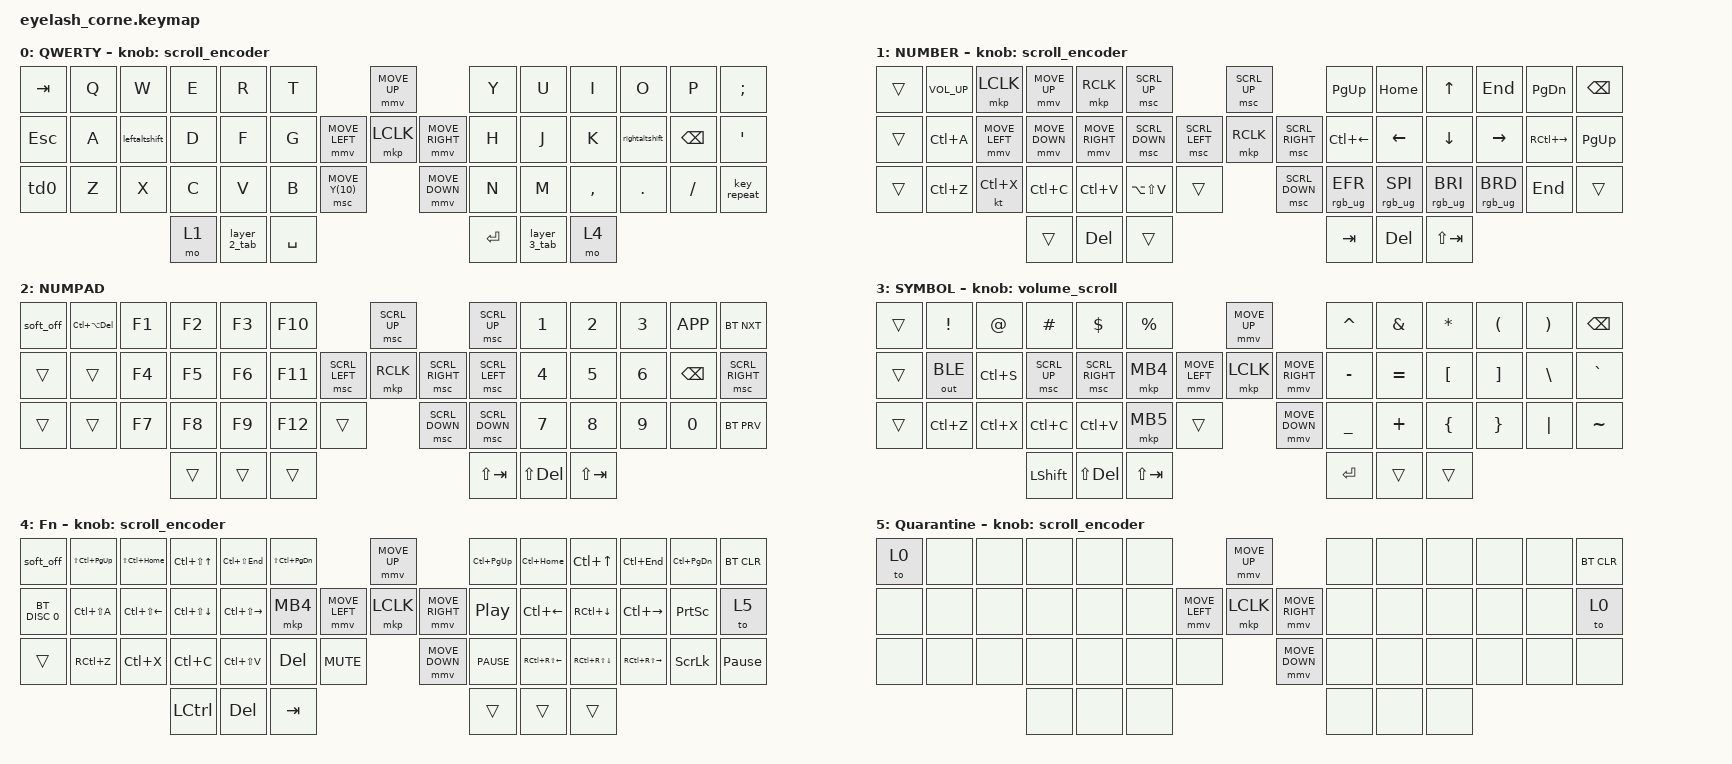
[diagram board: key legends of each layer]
#define ZMK_POINTING_DEFAULT_MOVE_VAL 300  // 600
#define ZMK_POINTING_DEFAULT_SCRL_VAL 25   // 10

#include <input/processors.dtsi>
#include <zephyr/dt-bindings/input/input-event-codes.h>
#include <behaviors.dtsi>
#include <dt-bindings/zmk/bt.h>
#include <dt-bindings/zmk/keys.h>
#include <dt-bindings/zmk/outputs.h>
#include <dt-bindings/zmk/pointing.h>
#include <dt-bindings/zmk/rgb.h>

&mmv_input_listener { input-processors = <&zip_xy_scaler 2 1>; };

&msc_input_listener { input-processors = <&zip_scroll_scaler 2 1>; };

&msc {
    acceleration-exponent = <0>;      // 0
    time-to-max-speed-ms = <0>;       // 300
    delay-ms = <0>;                   // 0
};

&mmv {
    time-to-max-speed-ms = <500>;
    acceleration-exponent = <1>;
    trigger-period-ms = <16>;
    delay-ms = <0>;
};

/ {
    behaviors {
        td0: td0 {
            compatible = "zmk,behavior-tap-dance";
            display-name = "Shift/Caps Lock Tap Dance";
            #binding-cells = <0>;
            bindings = <&kp LEFT_SHIFT>, <&kp CAPS>;
        };

        ht: ht {
            compatible = "zmk,behavior-hold-tap";
            label = "HT";
            bindings = <&kp>, <&kp>;

            #binding-cells = <2>;
            tapping-term-ms = <200>;
        };

        volume_scroll: volume_scroll {
            compatible = "zmk,behavior-sensor-rotate";
            #sensor-binding-cells = <0>;
            bindings = <&kp C_VOLUME_UP>, <&kp C_VOLUME_DOWN>;

            tap-ms = <100>;
            label = "VOLUME_SCROLL";
        };

        rightaltshift: rightaltshift {
            compatible = "zmk,behavior-mod-morph";
            label = "RIGHTALTSHIFT";
            bindings = <&kp L>, <&kp RIGHT_SHIFT>;

            #binding-cells = <0>;
            mods = <(MOD_RALT)>;
            keep-mods = <(MOD_RALT)>;
        };

        leftaltshift: leftaltshift {
            compatible = "zmk,behavior-mod-morph";
            label = "LEFTALTSHIFT";
            bindings = <&kp S>, <&kp LEFT_SHIFT>;

            #binding-cells = <0>;
            mods = <(MOD_LALT)>;
            keep-mods = <(MOD_LALT)>;
        };

        spaceastab: spaceastab {
            compatible = "zmk,behavior-mod-morph";
            label = "SPACEASTAB";
            bindings = <&kp SPACE>, <&kp TAB>;

            #binding-cells = <0>;
            mods = <(MOD_LALT)>;
            keep-mods = <(MOD_LALT)>;
        };

        enterastab: enterastab {
            compatible = "zmk,behavior-mod-morph";
            label = "ENTERASTAB";
            bindings = <&kp ENTER>, <&kp TAB>;

            #binding-cells = <0>;
            mods = <(MOD_RALT)>;
            keep-mods = <(MOD_RALT)>;
        };

        layer_2_tab: layer_2_tab {
            compatible = "zmk,behavior-mod-morph";
            label = "LAYER_2_TAB";
            bindings = <&mo 2>, <&kp TAB>;

            #binding-cells = <0>;
            mods = <(MOD_LALT)>;
            keep-mods = <(MOD_LALT)>;
        };

        layer_3_tab: layer_3_tab {
            compatible = "zmk,behavior-mod-morph";
            label = "LAYER_3_TAB";
            bindings = <&mo 3>, <&kp TAB>;

            #binding-cells = <0>;
            mods = <(MOD_RALT)>;
            keep-mods = <(MOD_RALT)>;
        };
    };

    rgb_encoder: rgb_encoder {
        compatible = "zmk,behavior-sensor-rotate";
        #sensor-binding-cells = <0>;
        bindings = <&rgb_ug RGB_BRI>, <&rgb_ug RGB_BRD>;
    };

    scroll_encoder: scroll_encoder {
        compatible = "zmk,behavior-sensor-rotate";
        #sensor-binding-cells = <0>;
        bindings = <&msc SCRL_DOWN>, <&msc SCRL_UP>;

        tap-ms = <100>;
    };

    #define COMBO_SETTINGS \
      timeout-ms = <40>; \
      require-prior-idle-ms = <200>; \
      layers = <0 1 2 3 4>;

    combos {
        compatible = "zmk,combos";

        lctrl {
            COMBO_SETTINGS
            bindings = <&kp LCTRL>;
            key-positions = <30 29>;
        };

        windows {
            COMBO_SETTINGS
            bindings = <&kp LEFT_GUI>;
            key-positions = <31 32>;
        };

        rctrl {
            COMBO_SETTINGS
            bindings = <&kp RCTRL>;
            key-positions = <39 40>;
        };

        lshift {
            COMBO_SETTINGS
            bindings = <&kp LEFT_SHIFT>;
            key-positions = <15 14>;
        };

        rshift {
            COMBO_SETTINGS
            bindings = <&kp RSHIFT>;
            key-positions = <25 26>;
        };

        lalt {
            COMBO_SETTINGS
            bindings = <&kp LEFT_ALT>;
            key-positions = <17 16>;
        };

        ralt {
            COMBO_SETTINGS
            bindings = <&kp RIGHT_ALT>;
            key-positions = <23 24>;
        };

        up {
            COMBO_SETTINGS
            bindings = <&kp UP_ARROW>;
            key-positions = <9 46>;
        };

        down {
            COMBO_SETTINGS
            bindings = <&kp DOWN_ARROW>;
            key-positions = <46 24>;
        };

        left {
            COMBO_SETTINGS
            bindings = <&kp LEFT_ARROW>;
            key-positions = <46 23>;
        };

        right {
            COMBO_SETTINGS
            bindings = <&kp RIGHT_ARROW>;
            key-positions = <46 25>;
        };

        rwin {
            COMBO_SETTINGS
            bindings = <&kp LEFT_GUI>;
            key-positions = <37 38>;
        };

        lctrlshift {
            COMBO_SETTINGS
            bindings = <&kp LC(LEFT_SHIFT)>;
            key-positions = <15 16>;
        };

        rctrlshift {
            COMBO_SETTINGS
            bindings = <&kp RC(RIGHT_SHIFT)>;
            key-positions = <24 25>;
        };

        lshiftwin {
            COMBO_SETTINGS
            bindings = <&kp LS(LEFT_GUI)>;
            key-positions = <31 30>;
        };

        rwinshift {
            COMBO_SETTINGS
            bindings = <&kp RS(RIGHT_WIN)>;
            key-positions = <38 39>;
        };

        moveleftmonitor {
            COMBO_SETTINGS
            bindings = <&kp LS(LG(LEFT))>;
            key-positions = <32 23>;
        };

        moverightmonitor {
            COMBO_SETTINGS
            bindings = <&kp LS(LG(RIGHT_ARROW))>;
            key-positions = <32 25>;
        };

        ctrlbackspace {
            COMBO_SETTINGS
            bindings = <&kp LC(BACKSPACE)>;
            key-positions = <26 17>;
        };

        ctrlup {
            COMBO_SETTINGS
            bindings = <&kp LC(UP_ARROW)>;
            key-positions = <17 9>;
        };

        ctrldown {
            COMBO_SETTINGS
            bindings = <&kp LC(DOWN_ARROW)>;
            key-positions = <17 24>;
        };

        ctrlleft {
            COMBO_SETTINGS
            bindings = <&kp LC(LEFT_ARROW)>;
            key-positions = <17 23>;
        };

        ctrlright {
            COMBO_SETTINGS
            bindings = <&kp LC(RIGHT_ARROW)>;
            key-positions = <17 25>;
        };

        altf4 {
            COMBO_SETTINGS
            bindings = <&kp LA(F4)>;
            key-positions = <1 23>;
        };

        lctrlshiftup {
            COMBO_SETTINGS
            bindings = <&kp LC(LS(UP_ARROW))>;
            key-positions = <9 16>;
        };

        lctrlshiftdown {
            COMBO_SETTINGS
            bindings = <&kp LC(LS(DOWN_ARROW))>;
            key-positions = <16 24>;
        };

        lctrlshiftleft {
            COMBO_SETTINGS
            bindings = <&kp LC(LS(LEFT_ARROW))>;
            key-positions = <16 23>;
        };

        lctrlshiftright {
            COMBO_SETTINGS
            bindings = <&kp LC(LS(RIGHT_ARROW))>;
            key-positions = <16 25>;
        };

        mousescrollup {
            COMBO_SETTINGS
            bindings = <&msc SCRL_UP>;
            key-positions = <3 43>;
        };

        mousescrolldown {
            COMBO_SETTINGS
            bindings = <&msc SCRL_DOWN>;
            key-positions = <43 16>;
        };

        mousescrollright {
            COMBO_SETTINGS
            bindings = <&msc SCRL_RIGHT>;
            key-positions = <43 17>;
        };

        mousescrollleft {
            COMBO_SETTINGS
            bindings = <&msc SCRL_LEFT>;
            key-positions = <43 15>;
        };

        ctrlshiftbackspace {
            COMBO_SETTINGS
            bindings = <&kp LC(LS(BACKSPACE))>;
            key-positions = <26 16>;
        };

        lctrlalt {
            COMBO_SETTINGS
            bindings = <&kp LC(LEFT_ALT)>;
            key-positions = <32 33>;
        };

        rctrlalt {
            COMBO_SETTINGS
            bindings = <&kp RC(RIGHT_ALT)>;
            key-positions = <36 37>;
        };

        ctrlenter {
            COMBO_SETTINGS
            bindings = <&kp LC(ENTER)>;
            key-positions = <45 44>;
        };

        rdelete {
            COMBO_SETTINGS
            bindings = <&kp DELETE>;
            key-positions = <5 4>;
        };

        ldelete {
            COMBO_SETTINGS
            bindings = <&kp DELETE>;
            key-positions = <7 8>;
        };

        lshiftalt {
            COMBO_SETTINGS
            bindings = <&kp LS(LEFT_ALT)>;
            key-positions = <17 18>;
        };

        rshiftalt {
            COMBO_SETTINGS
            bindings = <&kp RS(RIGHT_ALT)>;
            key-positions = <22 23>;
        };

        ltab {
            COMBO_SETTINGS
            bindings = <&kp TAB>;
            key-positions = <4 3>;
        };

        rtab {
            COMBO_SETTINGS
            bindings = <&kp TAB>;
            key-positions = <8 9>;
        };

        shiftup {
            COMBO_SETTINGS
            bindings = <&kp LS(UP_ARROW)>;
            key-positions = <9 15>;
        };

        shiftdown {
            COMBO_SETTINGS
            bindings = <&kp LS(DOWN_ARROW)>;
            key-positions = <24 15>;
        };

        shiftleft {
            COMBO_SETTINGS
            bindings = <&kp LS(LEFT_ARROW)>;
            key-positions = <23 15>;
        };

        shiftright {
            COMBO_SETTINGS
            bindings = <&kp LS(RIGHT_ARROW)>;
            key-positions = <25 15>;
        };

        shifthome {
            COMBO_SETTINGS
            bindings = <&kp LS(HOME)>;
            key-positions = <15 8>;
        };

        shiftend {
            COMBO_SETTINGS
            bindings = <&kp LS(END)>;
            key-positions = <15 10>;
        };

        shiftpagedown {
            COMBO_SETTINGS
            bindings = <&kp LS(PAGE_DOWN)>;
            key-positions = <15 11>;
        };

        shiftpageup {
            COMBO_SETTINGS
            bindings = <&kp LS(PAGE_UP)>;
            key-positions = <15 7>;
        };

        ctrlshifthome {
            COMBO_SETTINGS
            bindings = <&kp LS(LC(HOME))>;
            key-positions = <8 16>;
        };

        ctrlshiftend {
            COMBO_SETTINGS
            bindings = <&kp LS(LC(END))>;
            key-positions = <16 10>;
        };

        ctrlshiftpagedown {
            COMBO_SETTINGS
            bindings = <&kp LS(LC(PAGE_DOWN))>;
            key-positions = <16 11>;
        };

        ctrlshiftpageup {
            COMBO_SETTINGS
            bindings = <&kp LS(LC(PAGE_UP))>;
            key-positions = <16 7>;
        };

        ctrlpageup {
            COMBO_SETTINGS
            bindings = <&kp LC(PAGE_UP)>;
            key-positions = <7 17>;
        };

        ctrlpagedown {
            COMBO_SETTINGS
            bindings = <&kp LC(PAGE_DOWN)>;
            key-positions = <17 11>;
        };

        ctrlhome {
            COMBO_SETTINGS
            bindings = <&kp LC(HOME)>;
            key-positions = <8 17>;
        };

        ctrlend {
            COMBO_SETTINGS
            bindings = <&kp LC(END)>;
            key-positions = <17 10>;
        };

        lsharex {
            COMBO_SETTINGS
            bindings = <&kp LS(LA(R))>;
            key-positions = <28 29>;
        };

        rsharex {
            COMBO_SETTINGS
            bindings = <&kp RA(RS(R))>;
            key-positions = <41 40>;
        };

        lditto {
            COMBO_SETTINGS
            bindings = <&kp LA(LS(V))>;
            key-positions = <13 14>;
        };

        rditto {
            COMBO_SETTINGS
            bindings = <&kp RS(RA(V))>;
            key-positions = <26 27>;
        };

        winaltup {
            COMBO_SETTINGS
            bindings = <&kp LA(LG(UP_ARROW))>;
            key-positions = <33 9>;
        };

        winaltdown {
            COMBO_SETTINGS
            bindings = <&kp LA(LG(DOWN_ARROW))>;
            key-positions = <33 24>;
        };

        winaltleft {
            COMBO_SETTINGS
            bindings = <&kp LA(LG(LEFT_ARROW))>;
            key-positions = <33 23>;
        };

        winaltright {
            COMBO_SETTINGS
            bindings = <&kp LA(LG(RIGHT_ARROW))>;
            key-positions = <33 25>;
        };

        leftthumbctrlshiftalt {
            COMBO_SETTINGS
            bindings = <&kp LC(LS(LEFT_ALT))>;
            key-positions = <42 43>;
        };

        rightthumbctrlshiftalt {
            COMBO_SETTINGS
            bindings = <&kp RC(RS(RIGHT_ALT))>;
            key-positions = <46 47>;
        };
    };

    keymap {
        compatible = "zmk,keymap";

        default_layer {
            display-name = "QWERTY";
            bindings = <
&kp TAB  &kp Q  &kp W          &kp E  &kp R         &kp T                                         &mmv MOVE_UP                     &kp Y      &kp U         &kp I      &kp O           &kp P          &kp SEMI
&kp ESC  &kp A  &leftaltshift  &kp D  &kp F         &kp G                         &mmv MOVE_LEFT  &mkp LCLK       &mmv MOVE_RIGHT  &kp H      &kp J         &kp K      &rightaltshift  &kp BACKSPACE  &kp SQT
&td0     &kp Z  &kp X          &kp C  &kp V         &kp B      &msc MOVE_Y(10)                    &mmv MOVE_DOWN                   &kp N      &kp M         &kp COMMA  &kp DOT         &kp FSLH       &key_repeat
                               &mo 1  &layer_2_tab  &kp SPACE                                                                      &kp ENTER  &layer_3_tab  &mo 4
            >;

            sensor-bindings = <&scroll_encoder>;
        };

        arrowandmouse {
            display-name = "NUMBER";
            bindings = <
&trans  &kp C_VOLUME_UP  &mkp LCLK       &mmv MOVE_UP    &mkp RCLK        &msc SCRL_UP                              &msc SCRL_UP                     &kp PAGE_UP      &kp HOME         &kp UP_ARROW     &kp END          &kp PAGE_DOWN  &kp BSPC
&trans  &kp LC(A)        &mmv MOVE_LEFT  &mmv MOVE_DOWN  &mmv MOVE_RIGHT  &msc SCRL_DOWN            &msc SCRL_LEFT  &mkp RCLK       &msc SCRL_RIGHT  &kp LC(LEFT)     &kp LEFT_ARROW   &kp DOWN         &kp RIGHT        &kp RC(RIGHT)  &kp PG_UP
&trans  &kp LC(Z)        &kt LC(X)       &kp LC(C)       &kp LC(V)        &kp LA(LS(V))   &trans                    &msc SCRL_DOWN                   &rgb_ug RGB_EFR  &rgb_ug RGB_SPI  &rgb_ug RGB_BRI  &rgb_ug RGB_BRD  &kp END        &trans
                                         &trans          &kp DEL          &trans                                                                     &kp TAB          &kp DELETE       &kp LS(TAB)
            >;

            sensor-bindings = <&scroll_encoder>;
        };

        NumPad {
            display-name = "NUMPAD";
            bindings = <
&soft_off  &kp LC(LA(DELETE))  &kp F1  &kp F2  &kp F3  &kp F10                            &msc SCRL_UP                     &msc SCRL_UP    &kp N1      &kp N2           &kp N3  &kp K_APP      &bt BT_NXT
&trans     &trans              &kp F4  &kp F5  &kp F6  &kp F11            &msc SCRL_LEFT  &mkp RCLK       &msc SCRL_RIGHT  &msc SCRL_LEFT  &kp N4      &kp N5           &kp N6  &kp BACKSPACE  &msc SCRL_RIGHT
&trans     &trans              &kp F7  &kp F8  &kp F9  &kp F12  &trans                    &msc SCRL_DOWN                   &msc SCRL_DOWN  &kp N7      &kp N8           &kp N9  &kp N0         &bt BT_PRV
                                       &trans  &trans  &trans                                                              &kp LS(TAB)     &kp LS(DELETE)  &kp LS(TAB)
            >;
        };

        specialchars {
            display-name = "SYMBOL";
            bindings = <
&trans  &kp EXCL      &kp AT     &kp HASH        &kp DLLR         &kp PRCNT                            &mmv MOVE_UP                     &kp CARET  &kp AMPS   &kp ASTRK  &kp LPAR  &kp RPAR  &kp BSPC
&trans  &out OUT_BLE  &kp LC(S)  &msc SCRL_UP    &msc SCRL_RIGHT  &mkp MB4             &mmv MOVE_LEFT  &mkp LCLK       &mmv MOVE_RIGHT  &kp MINUS  &kp EQUAL  &kp LBKT   &kp RBKT  &kp BSLH  &kp GRAVE
&trans  &kp LC(Z)     &kp LC(X)  &kp LC(C)       &kp LC(V)        &mkp MB5   &trans                    &mmv MOVE_DOWN                   &kp UNDER  &kp PLUS   &kp LBRC   &kp RBRC  &kp PIPE  &kp TILDE
                                 &kp LEFT_SHIFT  &kp LS(DEL)      &kp LS(TAB)                                                           &kp RET    &trans     &trans
            >;

            sensor-bindings = <&volume_scroll>;
        };

        arrowselect {
            display-name = "Fn";
            bindings = <
&soft_off       &kp LS(LC(PAGE_UP))  &kp LS(LC(HOME))        &kp LC(LS(UP_ARROW))    &kp LC(LS(END))          &kp LS(LC(PAGE_DOWN))                                &mmv MOVE_UP                     &kp LC(PAGE_UP)  &kp LC(HOME)            &kp LC(UP_ARROW)        &kp LC(END)              &kp LC(PAGE_DOWN)  &bt BT_CLR
&bt BT_DISC 0   &kp LC(LS(A))        &kp LC(LS(LEFT_ARROW))  &kp LC(LS(DOWN_ARROW))  &kp LC(LS(RIGHT_ARROW))  &mkp MB4                             &mmv MOVE_LEFT  &mkp LCLK       &mmv MOVE_RIGHT  &kp C_PLAY_PAUSE &kp LC(LEFT)            &kp RC(DOWN_ARROW)      &kp LC(RIGHT)            &kp PRINTSCREEN    &to 5
&trans          &kp RC(Z)            &kp LC(X)               &kp LC(C)               &kp LC(LS(V))            &kp DEL                &kp C_MUTE                    &mmv MOVE_DOWN                   &kp C_PAUSE      &kp RC(RS(LEFT_ARROW))  &kp RC(RS(DOWN_ARROW))  &kp RC(RS(RIGHT_ARROW))  &kp SCROLLLOCK     &kp PAUSE_BREAK
                                                             &kp LCTRL               &kp DELETE               &kp TAB                                                                               &trans           &trans                  &trans
            >;

            sensor-bindings = <&scroll_encoder>;
        };

        quarantine {
            display-name = "Quarantine";
            bindings = <
&to 0          &none   &none   &none   &none   &none                             &mmv MOVE_UP                     &none   &none   &none   &none   &none   &bt BT_CLR
&none          &none   &none   &none   &none   &none             &mmv MOVE_LEFT  &mkp LCLK       &mmv MOVE_RIGHT  &none   &none   &none   &none   &none   &to 0
&none          &none   &none   &none   &none   &none   &none                     &mmv MOVE_DOWN                   &none   &none   &none   &none   &none   &none
                               &none   &none   &none                                                              &none   &none   &none
            >;

            sensor-bindings = <&scroll_encoder>;
        };
    };
};
